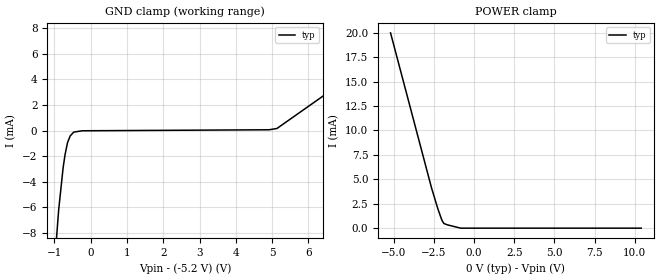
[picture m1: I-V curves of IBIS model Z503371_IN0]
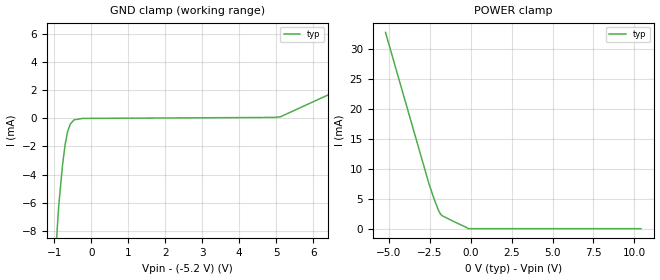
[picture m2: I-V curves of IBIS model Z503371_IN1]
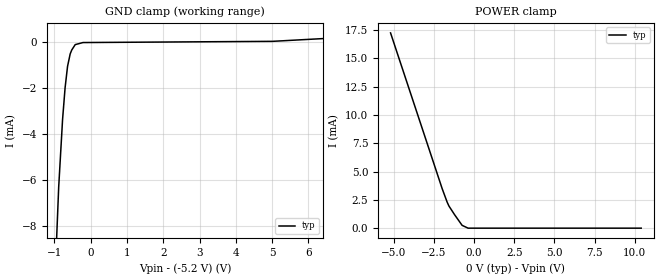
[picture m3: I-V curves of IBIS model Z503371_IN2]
| YOU ARE ONLY AUTHORIZED TO USE THIS SOFTWARE
| ACCORDING TO LICENSOR'S LICENSE RESTRICTIONS.
[IBIS Ver] 3.1
[File Name] mc100e337fn.ibs
[File Rev] 2.0
[Source] Measured and created by ICX Technology
[Date] Friday 7/14/00 9:07:47 AM
[Copyright]
| (C) COPYRIGHT 1993-2000
| MENTOR GRAPHICS CORPORATION
| ICX STANDARD LIBRARY, ICX PROJECT MODELING,
| ICX CUSTOM MODELING, ICX VENDOR MODEL
| ALL RIGHTS RESERVED.
| THE FOLLOWING ARE TRADEMARKS OR SERVICE MARKS OF
| MENTOR GRAPHICS CORPORATION:ICX (R), ICX STANDARD
| LIBRARY(R), ICX PROJECT MODELING(R), ICX CUSTOM
| MODELING(R), qualityIBIS(TM), MODELVIEWER(TM),
| AND MODELEDITOR(TM)
| ALL COPIES OF SOFTWARE, INCLUDING BUT NOT LIMITED TO
| ANY MODIFICATIONS, ENHANCEMENTS OR DERIVATIVE WORKS,
| MUST CONTAIN ALL MENTOR GRAPHICS CORPORATION'S
| NOTICES AND LEGENDS, INCLUDING THOSE EMBEDDED IN
| SOFTWARE AND THOSE AFFIXED TO SOFTWARE MEDIUM
| AND CONTAINER, AS RECEIVED FROM MENTOR GRAPHICS
| CORPORATION.
|  ZAP Model Builder 2.7
[Component] MC100E337FN
[Manufacturer] OnSemiconductor
[Package]
| variable   typ   min   max
R_pkg  .083ohms NA NA
L_pkg  4.299nH NA NA
C_pkg  1.045pF NA NA
[Pin] signal_name  model_name  R_pin  L_pin C_pin
1 VEE POWER .08 3.94n .925p
2 REN Z503371_IN0 .082 4.14n .995p
3 CLK Z503371_IN1 .084 4.354n 1.065p
4 A1 Z503371_IN2 .086 4.583n 1.135p
5 B1 Z503371_IN3 .086 4.583n 1.135p
6 A2 Z503371_IN2 .084 4.354n 1.065p
7 B2 Z503371_IN3 .082 4.14n .995p
8 VCCO POWER .08 3.94n .925p
9 BUS2 Z503371_OUT0 .082 4.14n .995p
10 GND GND .084 4.354n 1.065p
11 Q2 Z503371_OUT1 .086 4.583n 1.135p
12 GND GND .086 4.583n 1.135p
13 BUS1 Z503371_OUT0 .084 4.354n 1.065p
14 VCCO POWER .082 4.14n .995p
15 Q1 Z503371_OUT1 .08 3.94n .925p
16 VCC POWER .082 4.14n .995p
17 BUS0 Z503371_OUT0 .084 4.354n 1.065p
18 GND GND .086 4.583n 1.135p
19 Q0 Z503371_OUT1 .086 4.583n 1.135p
20 VCCO POWER .084 4.354n 1.065p
21 _ABUSDIS Z503371_IN4 .082 4.14n .995p
22 A0 Z503371_IN2 .08 3.94n .925p
23 B0 Z503371_IN3 .082 4.14n .995p
24 _SYNCEN Z503371_IN5 .084 4.354n 1.065p
25 SBUSEN Z503371_IN6 .086 4.583n 1.135p
26 SCAN Z503371_IN7 .086 4.583n 1.135p
27 S-IN Z503371_IN8 .084 4.354n 1.065p
28 TEN Z503371_IN9 .082 4.14n .995p
| Models and submodels in the file (12): Z503371_IN0 (Input_ECL), Z503371_IN1 (Input_ECL), Z503371_IN2 (Input_ECL), Z503371_IN3 (Input_ECL), Z503371_IN4 (Input_ECL), Z503371_IN5 (Input_ECL), Z503371_IN6 (Input_ECL), Z503371_IN7 (Input_ECL), Z503371_IN8 (Input_ECL), Z503371_IN9 (Input_ECL), Z503371_OUT0 (Output_ECL), Z503371_OUT1 (Output_ECL)
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| (C) COPYRIGHT 1993-2000
| MENTOR GRAPHICS CORPORATION
| ICX STANDARD LIBRARY, ICX PROJECT MODELING,
| ICX CUSTOM MODELING, ICX VENDOR MODEL
| ALL RIGHTS RESERVED.
| THE FOLLOWING ARE TRADEMARKS OR SERVICE MARKS OF
| MENTOR GRAPHICS CORPORATION:ICX (R), ICX STANDARD
| LIBRARY(R), ICX PROJECT MODELING(R), ICX CUSTOM
| MODELING(R), qualityIBIS(TM), MODELVIEWER(TM),
| AND MODELEDITOR(TM)
| ALL COPIES OF SOFTWARE, INCLUDING BUT NOT LIMITED TO
| ANY MODIFICATIONS, ENHANCEMENTS OR DERIVATIVE WORKS,
| MUST CONTAIN ALL MENTOR GRAPHICS CORPORATION'S
| NOTICES AND LEGENDS, INCLUDING THOSE EMBEDDED IN
| SOFTWARE AND THOSE AFFIXED TO SOFTWARE MEDIUM
| AND CONTAINER, AS RECEIVED FROM MENTOR GRAPHICS
| CORPORATION.
| Model Application Version 1.89 2/18/99.
[Model] Z503371_IN0
Model_type Input_ECL
Vinl = -1.475V
Vinh = -1.165V
C_comp 4.000pF NA NA
| variable typ   min   max
[Voltage Range] -5.200V NA NA
[GND Clamp Reference] -5.200V NA NA
[POWER Clamp Reference] 0.000V NA NA
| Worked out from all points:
|   GND clamp passes 1 mA (typ) near -0.64 V on its own axis
|   POWER clamp passes 1 mA (typ) near -2.05 V on its own axis
[GND Clamp]
-5.2V     -220.8mA   NA         NA
-1.074V   -13.28mA   NA         NA
-884mV    -6.196mA   NA         NA
-761mV    -2.899mA   NA         NA
-708mV    -1.882mA   NA         NA
-640mV    -944.9uA   NA         NA
-566mV    -418.5uA   NA         NA
-467mV    -123.5uA   NA         NA
-233.5mV  -19.18uA   NA         NA
4.914V    58.56uA    NA         NA
5.132V    159.4uA    NA         NA
10.4V     10.64mA    NA         NA
[POWER Clamp]
-5.2V     19.98mA    NA         NA
-2.645V   4.092mA    NA         NA
-2.256V   1.986mA    NA         NA
-2.051V   1.02mA     NA         NA
-1.977V   728uA      NA         NA
-1.879V   477.9uA    NA         NA
-1.665V   339.5uA    NA         NA
-832.5mV  0A         NA         NA
10.4V     0A         NA         NA
| (C) COPYRIGHT 1993-2000
| MENTOR GRAPHICS CORPORATION
| ICX STANDARD LIBRARY, ICX PROJECT MODELING,
| ICX CUSTOM MODELING, ICX VENDOR MODEL
| ALL RIGHTS RESERVED.
| THE FOLLOWING ARE TRADEMARKS OR SERVICE MARKS OF
| MENTOR GRAPHICS CORPORATION:ICX (R), ICX STANDARD
| LIBRARY(R), ICX PROJECT MODELING(R), ICX CUSTOM
| MODELING(R), qualityIBIS(TM), MODELVIEWER(TM),
| AND MODELEDITOR(TM)
| ALL COPIES OF SOFTWARE, INCLUDING BUT NOT LIMITED TO
| ANY MODIFICATIONS, ENHANCEMENTS OR DERIVATIVE WORKS,
| MUST CONTAIN ALL MENTOR GRAPHICS CORPORATION'S
| NOTICES AND LEGENDS, INCLUDING THOSE EMBEDDED IN
| SOFTWARE AND THOSE AFFIXED TO SOFTWARE MEDIUM
| AND CONTAINER, AS RECEIVED FROM MENTOR GRAPHICS
| CORPORATION.
| Model Application Version 1.89 2/18/99.
[Model] Z503371_IN1
Model_type Input_ECL
Vinl = -1.475V
Vinh = -1.165V
C_comp 4.000pF NA NA
| variable typ   min   max
[Voltage Range] -5.200V NA NA
[GND Clamp Reference] -5.200V NA NA
[POWER Clamp Reference] 0.000V NA NA
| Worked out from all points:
|   GND clamp passes 1 mA (typ) near -0.64 V on its own axis
[GND Clamp]
-5.2V     -252.2mA   NA         NA
-1.068V   -13.87mA   NA         NA
-883mV    -6.313mA   NA         NA
-776mV    -3.296mA   NA         NA
-708mV    -1.893mA   NA         NA
-640mV    -954.6uA   NA         NA
-566mV    -418.9uA   NA         NA
-467mV    -119.7uA   NA         NA
-233.5mV  -20.52uA   NA         NA
4.954V    50.11uA    NA         NA
5.112V    91.82uA    NA         NA
10.4V     6.448mA    NA         NA
[POWER Clamp]
-5.2V     32.77mA    NA         NA
-2.539V   7.431mA    NA         NA
-2.244V   5.061mA    NA         NA
-1.969V   3.078mA    NA         NA
-1.836V   2.406mA    NA         NA
-1.719V   2.125mA    NA         NA
-946.8mV  1.08mA     NA         NA
-281.8mV  247.1uA    NA         NA
-140.9mV  0A         NA         NA
10.4V     0A         NA         NA
| (C) COPYRIGHT 1993-2000
| MENTOR GRAPHICS CORPORATION
| ICX STANDARD LIBRARY, ICX PROJECT MODELING,
| ICX CUSTOM MODELING, ICX VENDOR MODEL
| ALL RIGHTS RESERVED.
| THE FOLLOWING ARE TRADEMARKS OR SERVICE MARKS OF
| MENTOR GRAPHICS CORPORATION:ICX (R), ICX STANDARD
| LIBRARY(R), ICX PROJECT MODELING(R), ICX CUSTOM
| MODELING(R), qualityIBIS(TM), MODELVIEWER(TM),
| AND MODELEDITOR(TM)
| ALL COPIES OF SOFTWARE, INCLUDING BUT NOT LIMITED TO
| ANY MODIFICATIONS, ENHANCEMENTS OR DERIVATIVE WORKS,
| MUST CONTAIN ALL MENTOR GRAPHICS CORPORATION'S
| NOTICES AND LEGENDS, INCLUDING THOSE EMBEDDED IN
| SOFTWARE AND THOSE AFFIXED TO SOFTWARE MEDIUM
| AND CONTAINER, AS RECEIVED FROM MENTOR GRAPHICS
| CORPORATION.
| Model Application Version 1.89 2/18/99.
[Model] Z503371_IN2
Model_type Input_ECL
Vinl = -1.475V
Vinh = -1.165V
C_comp 4.000pF NA NA
| variable typ   min   max
[Voltage Range] -5.200V NA NA
[GND Clamp Reference] -5.200V NA NA
[POWER Clamp Reference] 0.000V NA NA
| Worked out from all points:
|   GND clamp passes 1 mA (typ) near -0.63 V on its own axis
[GND Clamp]
-5.2V     -241.8mA   NA         NA
-1.07V    -13.61mA   NA         NA
-883mV    -6.291mA   NA         NA
-776mV    -3.354mA   NA         NA
-707mV    -1.986mA   NA         NA
-639mV    -1.051mA   NA         NA
-566mV    -510uA     NA         NA
-523mV    -341.3uA   NA         NA
-428mV    -108.7uA   NA         NA
-214mV    -18.8uA    NA         NA
5.011V    33.61uA    NA         NA
10.4V     497.5uA    NA         NA
[POWER Clamp]
-5.2V     17.25mA    NA         NA
-1.989V   3.497mA    NA         NA
-1.68V    2.307mA    NA         NA
-1.567V   1.957mA    NA         NA
-1.216V   1.192mA    NA         NA
-747.1mV  248.7uA    NA         NA
-373.5mV  0A         NA         NA
10.4V     0A         NA         NA
